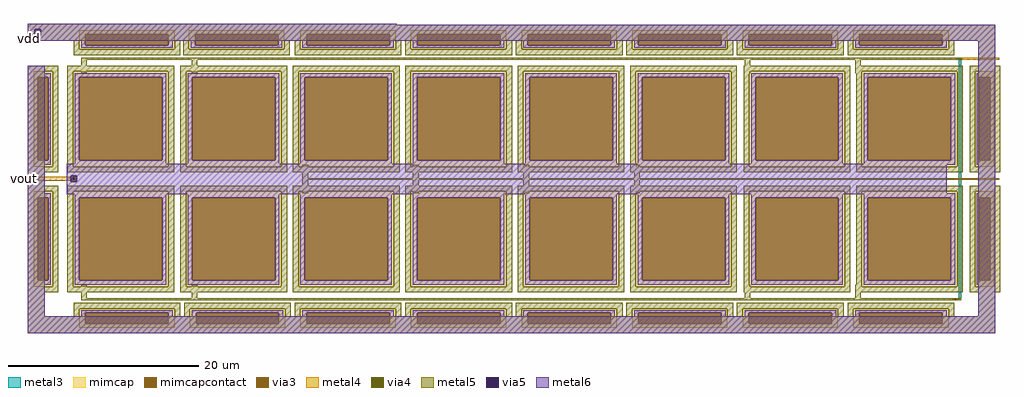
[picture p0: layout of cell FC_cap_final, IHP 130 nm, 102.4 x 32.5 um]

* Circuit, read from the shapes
.subckt FC_cap_final vdd vout
XC1 vdd vdd cap_cmim w=2u l=10u m=4
XC2 vout cap_cmim_RCJHDK_0/C2 cap_cmim w=10u l=10u m=8
XC3 vdd vdd cap_cmim w=10u l=2u m=16
XC4 vout cap_cmim_RCJHDK_11/C2 cap_cmim w=10u l=10u m=8
.ends

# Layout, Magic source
magic
tech ihp-sg13g2
magscale 1 2
<< metal3 >>
rect 18570 2400 18580 2440
rect 18620 2400 18630 2440
rect 18570 -2600 18630 2400
rect 18570 -2640 18580 -2600
rect 18620 -2640 18630 -2600
<< via3 >>
rect 18580 2400 18620 2440
rect 18580 -2640 18620 -2600
<< metal4 >>
rect 18540 2400 18580 2440
rect 18620 2400 19420 2440
rect -60 -50 70 -30
rect -1040 -75 70 -50
rect -1040 -115 -15 -75
rect 25 -115 70 -75
rect -1040 -140 70 -115
rect 18380 -120 18420 -80
rect 18460 -120 19420 -80
rect -60 -160 70 -140
rect 18450 -2640 18490 -2600
rect 18530 -2640 18580 -2600
rect 18620 -2640 18630 -2600
<< via4 >>
rect 18580 2400 18620 2440
rect -15 -115 25 -75
rect 18420 -120 18460 -80
rect 18490 -2640 18530 -2600
<< metal5 >>
rect -960 3140 6780 3160
rect -960 3042 19340 3140
rect -960 2918 -812 3042
rect -688 2918 19340 3042
rect -960 2800 19340 2918
rect 160 2400 18580 2440
rect 18620 2400 18640 2440
rect -960 -2980 -600 2280
rect 160 2120 280 2400
rect 2480 2120 2600 2400
rect 14080 2120 14200 2400
rect 16400 2120 16520 2400
rect -60 -33 70 -30
rect -60 -157 -57 -33
rect 67 -157 70 -33
rect -60 -160 70 -157
rect 4800 -80 4920 200
rect 7120 -80 7240 200
rect 9440 -80 9560 200
rect 11760 -80 11880 200
rect 4800 -120 18420 -80
rect 18460 -120 18480 -80
rect 4800 -400 4920 -120
rect 7120 -400 7240 -120
rect 9440 -400 9560 -120
rect 11760 -400 11880 -120
rect 160 -2600 280 -2320
rect 2480 -2600 2600 -2320
rect 14080 -2600 14200 -2320
rect 16400 -2600 16520 -2320
rect 160 -2640 18490 -2600
rect 18530 -2640 18570 -2600
rect 18980 -2980 19340 2800
rect -960 -3340 19340 -2980
<< via5 >>
rect -812 2918 -688 3042
rect -57 -75 67 -33
rect -57 -115 -15 -75
rect -15 -115 25 -75
rect 25 -115 67 -75
rect -57 -157 67 -115
<< metal6 >>
rect -960 3140 6780 3160
rect -960 3042 19340 3140
rect -960 2918 -812 3042
rect -688 2918 19340 3042
rect -960 2800 19340 2918
rect -960 -2980 -600 2280
rect -140 -33 18320 220
rect -140 -157 -57 -33
rect 67 -157 18320 -33
rect -140 -420 18320 -157
rect 18980 -2980 19340 2800
rect -960 -3340 19340 -2980
use cap_cmim_MV9CWZ  cap_cmim_MV9CWZ_0
transform 1 0 1120 0 1 2820
box -1120 -320 1120 320
use cap_cmim_MV9CWZ  cap_cmim_MV9CWZ_1
transform 1 0 3420 0 1 2820
box -1120 -320 1120 320
use cap_cmim_MV9CWZ  cap_cmim_MV9CWZ_2
transform 1 0 5760 0 1 2820
box -1120 -320 1120 320
use cap_cmim_MV9CWZ  cap_cmim_MV9CWZ_3
transform 1 0 5760 0 1 -3020
box -1120 -320 1120 320
use cap_cmim_MV9CWZ  cap_cmim_MV9CWZ_4
transform 1 0 3440 0 1 -3020
box -1120 -320 1120 320
use cap_cmim_MV9CWZ  cap_cmim_MV9CWZ_5
transform 1 0 1120 0 1 -3020
box -1120 -320 1120 320
use cap_cmim_MV9CWZ  cap_cmim_MV9CWZ_6
transform 0 1 19120 -1 0 1160
box -1120 -320 1120 320
use cap_cmim_MV9CWZ  cap_cmim_MV9CWZ_7
transform 0 1 19120 -1 0 -1360
box -1120 -320 1120 320
use cap_cmim_MV9CWZ  cap_cmim_MV9CWZ_8
transform 0 1 -640 -1 0 -1360
box -1120 -320 1120 320
use cap_cmim_MV9CWZ  cap_cmim_MV9CWZ_9
transform 0 1 -640 -1 0 1160
box -1120 -320 1120 320
use cap_cmim_MV9CWZ  cap_cmim_MV9CWZ_10
transform 1 0 8080 0 1 2820
box -1120 -320 1120 320
use cap_cmim_MV9CWZ  cap_cmim_MV9CWZ_11
transform 1 0 10400 0 1 2820
box -1120 -320 1120 320
use cap_cmim_MV9CWZ  cap_cmim_MV9CWZ_12
transform 1 0 12720 0 1 2820
box -1120 -320 1120 320
use cap_cmim_MV9CWZ  cap_cmim_MV9CWZ_13
transform 1 0 15040 0 1 2820
box -1120 -320 1120 320
use cap_cmim_MV9CWZ  cap_cmim_MV9CWZ_14
transform 1 0 17360 0 1 2820
box -1120 -320 1120 320
use cap_cmim_MV9CWZ  cap_cmim_MV9CWZ_15
transform 1 0 8080 0 1 -3020
box -1120 -320 1120 320
use cap_cmim_MV9CWZ  cap_cmim_MV9CWZ_16
transform 1 0 10400 0 1 -3020
box -1120 -320 1120 320
use cap_cmim_MV9CWZ  cap_cmim_MV9CWZ_17
transform 1 0 12720 0 1 -3020
box -1120 -320 1120 320
use cap_cmim_MV9CWZ  cap_cmim_MV9CWZ_18
transform 1 0 15040 0 1 -3020
box -1120 -320 1120 320
use cap_cmim_MV9CWZ  cap_cmim_MV9CWZ_19
transform 1 0 17360 0 1 -3020
box -1120 -320 1120 320
use cap_cmim_RCJHDK  cap_cmim_RCJHDK_0
transform 1 0 990 0 1 1160
box -1120 -1120 1120 1120
use cap_cmim_RCJHDK  cap_cmim_RCJHDK_1
transform 1 0 3360 0 1 1160
box -1120 -1120 1120 1120
use cap_cmim_RCJHDK  cap_cmim_RCJHDK_2
transform 1 0 5720 0 1 1160
box -1120 -1120 1120 1120
use cap_cmim_RCJHDK  cap_cmim_RCJHDK_3
transform 1 0 990 0 1 -1360
box -1120 -1120 1120 1120
use cap_cmim_RCJHDK  cap_cmim_RCJHDK_4
transform 1 0 3360 0 1 -1360
box -1120 -1120 1120 1120
use cap_cmim_RCJHDK  cap_cmim_RCJHDK_5
transform 1 0 5720 0 1 -1360
box -1120 -1120 1120 1120
use cap_cmim_RCJHDK  cap_cmim_RCJHDK_6
transform 1 0 8080 0 1 1160
box -1120 -1120 1120 1120
use cap_cmim_RCJHDK  cap_cmim_RCJHDK_7
transform 1 0 10440 0 1 1160
box -1120 -1120 1120 1120
use cap_cmim_RCJHDK  cap_cmim_RCJHDK_8
transform 1 0 12800 0 1 1160
box -1120 -1120 1120 1120
use cap_cmim_RCJHDK  cap_cmim_RCJHDK_9
transform 1 0 15180 0 1 1160
box -1120 -1120 1120 1120
use cap_cmim_RCJHDK  cap_cmim_RCJHDK_10
transform 1 0 17540 0 1 1160
box -1120 -1120 1120 1120
use cap_cmim_RCJHDK  cap_cmim_RCJHDK_11
transform 1 0 8080 0 1 -1360
box -1120 -1120 1120 1120
use cap_cmim_RCJHDK  cap_cmim_RCJHDK_12
transform 1 0 10440 0 1 -1360
box -1120 -1120 1120 1120
use cap_cmim_RCJHDK  cap_cmim_RCJHDK_13
transform 1 0 12800 0 1 -1360
box -1120 -1120 1120 1120
use cap_cmim_RCJHDK  cap_cmim_RCJHDK_14
transform 1 0 15180 0 1 -1360
box -1120 -1120 1120 1120
use cap_cmim_RCJHDK  cap_cmim_RCJHDK_15
transform 1 0 17540 0 1 -1360
box -1120 -1120 1120 1120
<< labels >>
rlabel metal6 s -960 2800 -880 2880 4 vdd
port 1 nsew
rlabel metal4 s -1040 -120 -1000 -80 4 vout
port 2 nsew
<< end >>

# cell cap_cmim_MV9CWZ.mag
magic
tech ihp-sg13g2
<< metal5 >>
rect -560 100 560 160
rect -560 -100 -500 100
rect 500 -100 560 100
rect -560 -160 560 -100
<< mimcap >>
rect -500 57 500 100
rect -500 -57 -435 57
rect 435 -57 500 57
rect -500 -100 500 -57
<< mimcapcontact >>
rect -435 -57 435 57
<< metal6 >>
rect -480 57 480 82
rect -480 -57 -435 57
rect 435 -57 480 57
rect -480 -82 480 -57
<< labels >>
rlabel metal6 s 0 0 0 0 4 C1
rlabel metal5 s 510 0 510 0 4 C2
<< properties >>
string FIXED_BBOX -560 -160 560 160
<< end >>

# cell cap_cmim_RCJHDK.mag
magic
tech ihp-sg13g2
<< metal5 >>
rect -560 500 560 560
rect -560 -500 -500 500
rect 500 -500 560 500
rect -560 -560 560 -500
<< mimcap >>
rect -500 435 500 500
rect -500 -435 -435 435
rect 435 -435 500 435
rect -500 -500 500 -435
<< mimcapcontact >>
rect -435 -435 435 435
<< metal6 >>
rect -480 435 480 480
rect -480 -435 -435 435
rect 435 -435 480 435
rect -480 -480 480 -435
<< labels >>
rlabel metal6 s 0 0 0 0 4 C1
rlabel metal5 s 510 0 510 0 4 C2
<< properties >>
string FIXED_BBOX -560 -560 560 560
<< end >>
